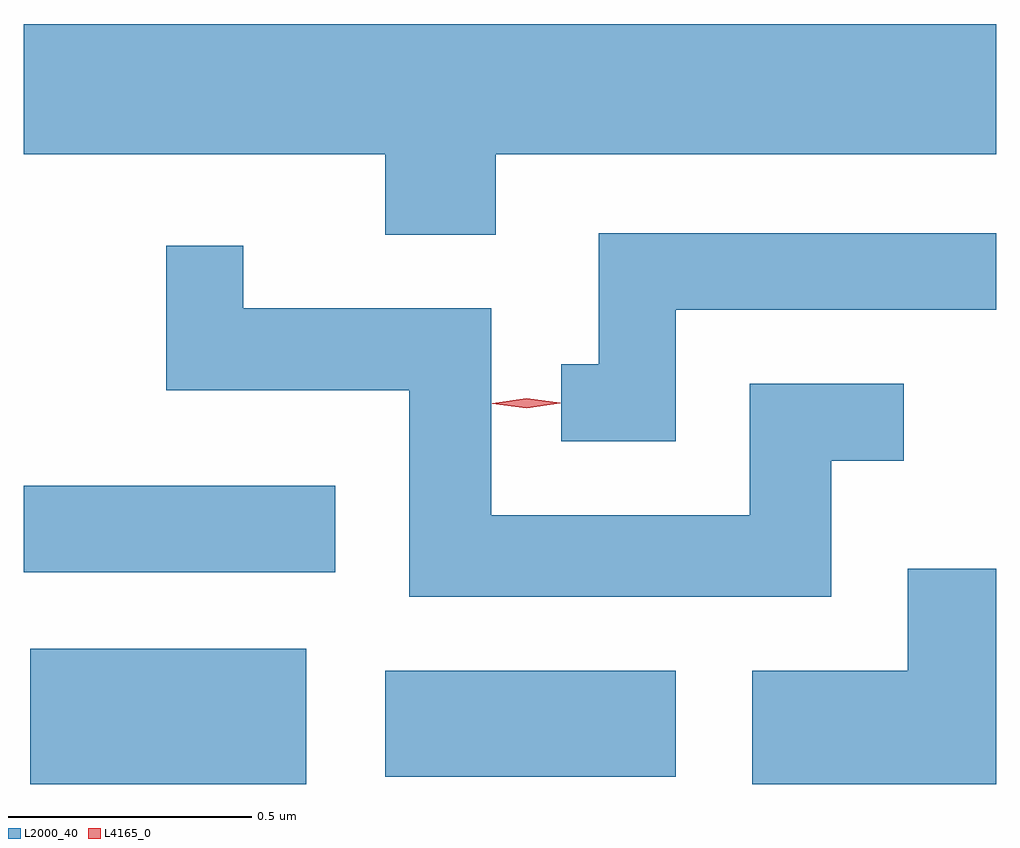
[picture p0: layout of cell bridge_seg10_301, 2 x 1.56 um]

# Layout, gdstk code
import gdstk
lib = gdstk.Library(unit=1e-6, precision=1e-09)
def R(c, l, rs):  # rectangles x0, y0, x1, y1
    for r in rs: c.add(gdstk.rectangle(r[:2], r[2:], *l))
def P(c, l, *ps):  # polygons
    for p in ps: c.add(gdstk.Polygon(p, *l))
L2000_40 = (2000, 40)
L4165_0 = (4165, 0)

bridge_seg10_301 = lib.new_cell('bridge_seg10_301')
R(bridge_seg10_301, L2000_40, [(1466.971,2165.901,1467.539,2166.179), (1467.701,2165.916,1468.299,2166.134), (1466.958,2166.336,1467.599,2166.514)])
P(bridge_seg10_301, L2000_40, [(1467.929,2167.196),(1468.958,2167.196),(1468.958,2167.464),(1466.958,2167.464),(1466.958,2167.196),(1467.701,2167.196),(1467.701,2167.031),(1467.929,2167.031)],
  [(1468.299,2166.876),(1468.958,2166.876),(1468.958,2167.034),(1468.141,2167.034),(1468.141,2166.764),(1468.063,2166.764),(1468.063,2166.606),(1468.299,2166.606)],
  [(1468.619,2166.566),(1468.768,2166.566),(1468.768,2166.724),(1468.451,2166.724),(1468.451,2166.454),(1467.919,2166.454),(1467.919,2166.879),(1467.409,2166.879),(1467.409,2167.008),(1467.251,2167.008),(1467.251,2166.711),(1467.751,2166.711),(1467.751,2166.286),(1468.619,2166.286)],
  [(1468.958,2166.344),(1468.776,2166.344),(1468.776,2166.134),(1468.456,2166.134),(1468.456,2165.901),(1468.958,2165.901)])
P(bridge_seg10_301, L4165_0, [(1467.992,2166.674),(1467.922,2166.683),(1467.922,2166.684),(1467.922,2166.684),(1467.992,2166.694),(1468.061,2166.685),(1468.061,2166.684),(1468.061,2166.684)])

lib.write_gds('bridge_seg10_301.gds')
